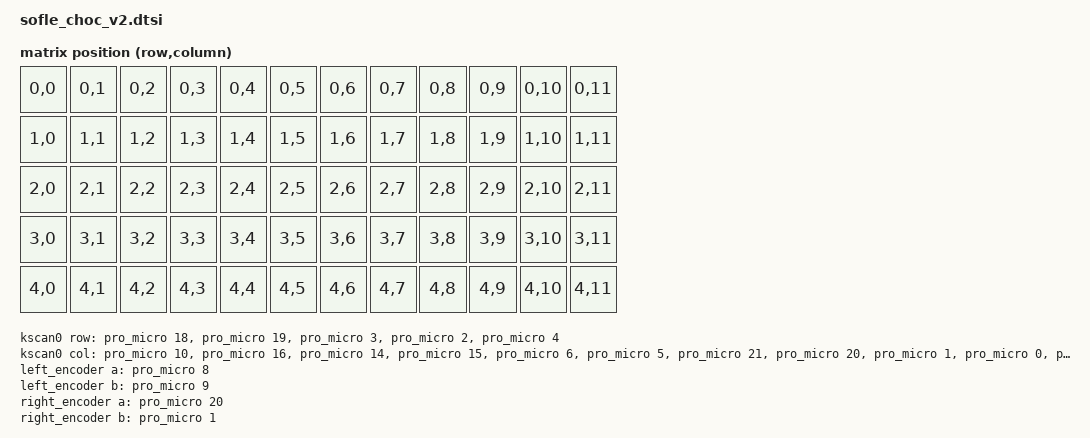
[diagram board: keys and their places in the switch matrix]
/* Base hardware definitions for Sofle Choc V2 with Nice!Nano V2 */

#include <dt-bindings/zmk/matrix_transform.h>

/ {
    chosen {
        zmk,kscan = &kscan0;
        zmk,matrix_transform = &default_transform;
    };

    default_transform: keymap_transform_0 {
        compatible = "zmk,matrix-transform";
        columns = <12>;
        rows = <5>;
        // Map must reflect 5 rows * 12 columns
        map = <
            // R0C0 to R0C11
            RC(0,0) RC(0,1) RC(0,2) RC(0,3) RC(0,4) RC(0,5)  RC(0,6) RC(0,7) RC(0,8) RC(0,9) RC(0,10) RC(0,11)
            // R1C0 to R1C11
            RC(1,0) RC(1,1) RC(1,2) RC(1,3) RC(1,4) RC(1,5)  RC(1,6) RC(1,7) RC(1,8) RC(1,9) RC(1,10) RC(1,11)
            // R2C0 to R2C11
            RC(2,0) RC(2,1) RC(2,2) RC(2,3) RC(2,4) RC(2,5)  RC(2,6) RC(2,7) RC(2,8) RC(2,9) RC(2,10) RC(2,11)
            // R3C0 to R3C11
            RC(3,0) RC(3,1) RC(3,2) RC(3,3) RC(3,4) RC(3,5)  RC(3,6) RC(3,7) RC(3,8) RC(3,9) RC(3,10) RC(3,11)
            // R4C0 to R4C11 (Thumb Row)
            RC(4,0) RC(4,1) RC(4,2) RC(4,3) RC(4,4) RC(4,5)  RC(4,6) RC(4,7) RC(4,8) RC(4,9) RC(4,10) RC(4,11)
        >;
    };

    kscan0: kscan {
        compatible = "zmk,kscan-gpio-matrix";
        diode-direction = "col2row"; // Assumed standard Choc wiring

        // Row Pin Assignments (Nice!Nano D4-F1)
        row-gpios
            = <&pro_micro 18 (GPIO_ACTIVE_HIGH | GPIO_PULL_DOWN)>  /* R0 - F1 */
            , <&pro_micro 19 (GPIO_ACTIVE_HIGH | GPIO_PULL_DOWN)>  /* R1 - F0 */
            , <&pro_micro 3 (GPIO_ACTIVE_HIGH | GPIO_PULL_DOWN)>   /* R2 - D0 */
            , <&pro_micro 2 (GPIO_ACTIVE_HIGH | GPIO_PULL_DOWN)>   /* R3 - D1 */
            , <&pro_micro 4 (GPIO_ACTIVE_HIGH | GPIO_PULL_DOWN)>   /* R4 - D4 */
            ;
        
        // Column Pin Assignments (C0 to C11)
        col-gpios
            = <&pro_micro 10 GPIO_ACTIVE_HIGH>  /* C0 - B6 */
            , <&pro_micro 16 GPIO_ACTIVE_HIGH>  /* C1 - B5 */
            , <&pro_micro 14 GPIO_ACTIVE_HIGH>  /* C2 - B4 */
            , <&pro_micro 15 GPIO_ACTIVE_HIGH>  /* C3 - E6 */
            , <&pro_micro 6 GPIO_ACTIVE_HIGH>   /* C4 - D7 */
            , <&pro_micro 5 GPIO_ACTIVE_HIGH>   /* C5 - C6 */
            , <&pro_micro 21 GPIO_ACTIVE_HIGH>  /* C6 - A1 */
            , <&pro_micro 20 GPIO_ACTIVE_HIGH>  /* C7 - A2 */
            , <&pro_micro 1 GPIO_ACTIVE_HIGH>   /* C8 - A3 */
            , <&pro_micro 0 GPIO_ACTIVE_HIGH>   /* C9 - A4 */
            , <&pro_micro 9 GPIO_ACTIVE_HIGH>   /* C10 - A5 */
            , <&pro_micro 7 GPIO_ACTIVE_HIGH>   /* C11 - D5 */
            ;
    };
    // Encoder Hardware Definitions
    left_encoder: encoder_left {
        compatible = "alps,ec11";
        label = "Left Encoder";
        a-gpios = <&pro_micro 8 (GPIO_ACTIVE_LOW | GPIO_PULL_UP)>;  /* D6 */
        b-gpios = <&pro_micro 9 (GPIO_ACTIVE_LOW | GPIO_PULL_UP)>;  /* D5 */
        steps = <4>;
        status = "okay"; // MUST be set to "okay"
    };

    right_encoder: encoder_right {
        compatible = "alps,ec11";
        label = "Right Encoder";
        a-gpios = <&pro_micro 20 (GPIO_ACTIVE_LOW | GPIO_PULL_UP)>; /* A2 */
        b-gpios = <&pro_micro 1 (GPIO_ACTIVE_LOW | GPIO_PULL_UP)>;  /* A3 */
        steps = <4>;
        status = "okay"; // MUST be set to "okay"
    };

    sensors {
        compatible = "zmk,keymap-sensors";
        sensors = <&left_encoder &right_encoder>;
        triggers-per-rotation = <20>;
    };
};
